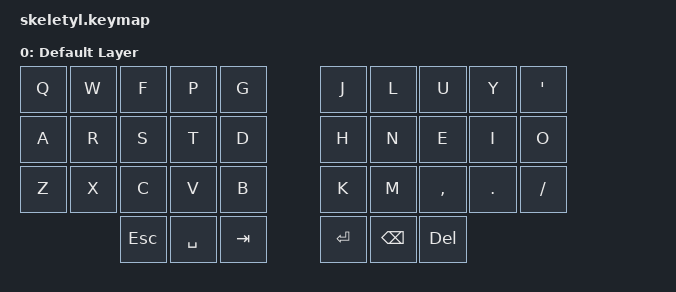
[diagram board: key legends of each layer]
// Copyright (c) 2025 Ethan Moss
// SPDX-License-Identifier: MIT

#include <behaviors.dtsi>
#include <dt-bindings/zmk/keys.h>
#include <dt-bindings/zmk/bt.h>

/ {
  keymap {
    compatible = "zmk,keymap";

    default_layer {
      display-name = "Default Layer";
      bindings = <
        &kp Q &kp W &kp F   &kp P     &kp G   /**/ &kp J   &kp L    &kp U     &kp Y   &kp SQT
        &kp A &kp R &kp S   &kp T     &kp D   /**/ &kp H   &kp N    &kp E     &kp I   &kp O
        &kp Z &kp X &kp C   &kp V     &kp B   /**/ &kp K   &kp M    &kp COMMA &kp DOT &kp FSLH
                    &kp ESC &kp SPACE &kp TAB /**/ &kp RET &kp BSPC &kp DEL
        >;
    };
  };
};
